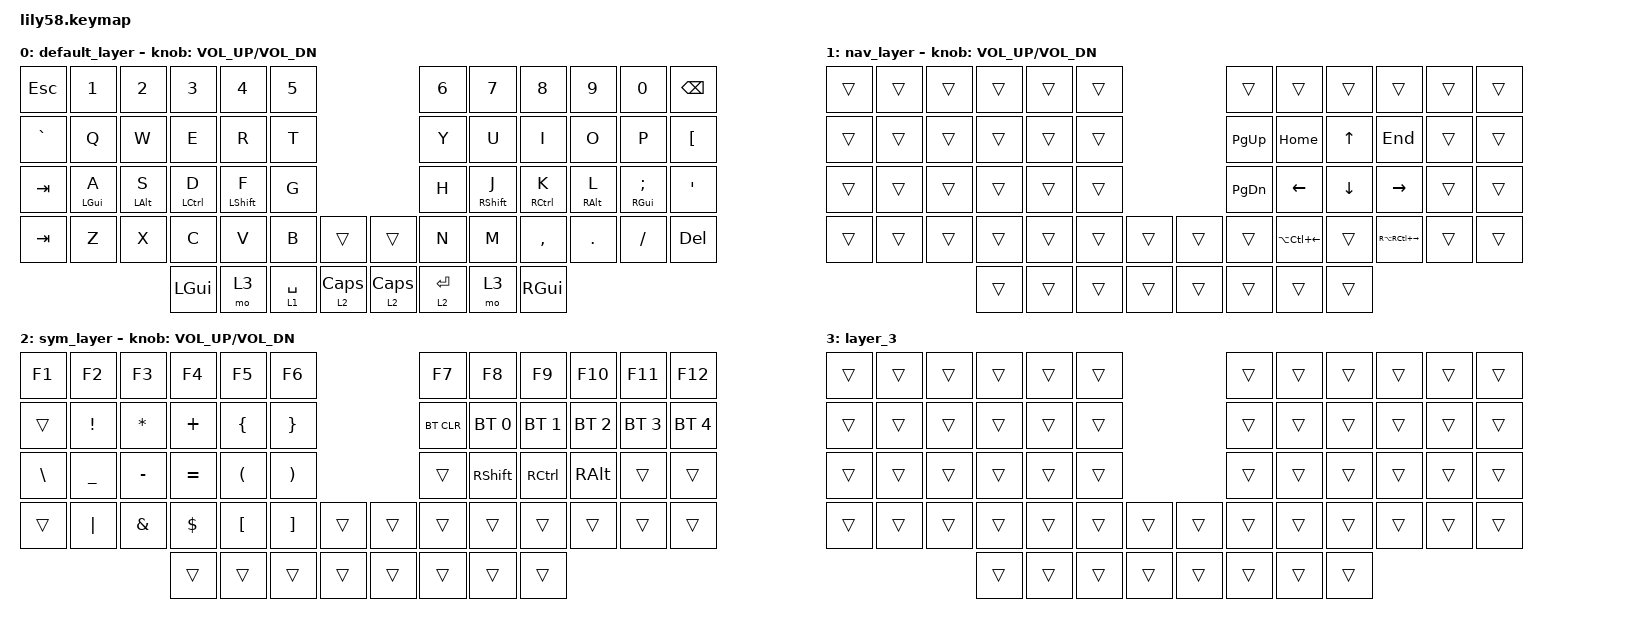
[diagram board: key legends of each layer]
/*
 * Copyright (c) 2020 The ZMK Contributors
 *
 * SPDX-License-Identifier: MIT
 */

#include <behaviors.dtsi>
#include <dt-bindings/zmk/bt.h>
#include <dt-bindings/zmk/keys.h>

&mt {
    flavor = "balanced";
    tapping-term-ms = <150>;
};

/ {
    behaviors {
        // Пример: изменение параметров для стандартного mt

        mt {
            flavor = "tap-unless-interrupted"; // Меняем алгоритм распознавания
        };
    };

    combos {
        compatible = "zmk,combos";

        alt_caps {
            bindings = <&kp CAPS>;
            key-positions = <28 31>;
        };
    };

    keymap {
        compatible = "zmk,keymap";

        default_layer {
            // ------------------------------------------------------------------------------------------------------------
            // |  ESC  |  1  |  2  |  3   |  4   |  5   |                   |  6   |  7    |  8    |  9   |   0   |   `   |
            // |  TAB  |  Q  |  W  |  E   |  R   |  T   |                   |  Y   |  U    |  I    |  O   |   P   |   -   |
            // |  CTRL |  A  |  S  |  D   |  F   |  G   |                   |  H   |  J    |  K    |  L   |   ;   |   '   |
            // | SHIFT |  Z  |  X  |  C   |  V   |  B   |   "["  |  |  "]"  |  N   |  M    |  ,    |  .   |   /   | SHIFT |
            //                     | ALT  | GUI  | LOWER|  SPACE |  | ENTER | RAISE| BSPC  | GUI   |

            bindings = <
&kp ESC    &kp N1          &kp N2          &kp N3              &kp N4            &kp N5                                     &kp N6        &kp N7             &kp N8               &kp N9           &kp N0                   &kp BACKSPACE
&kp GRAVE  &kp Q           &kp W           &kp E               &kp R             &kp T                                      &kp Y         &kp U              &kp I                &kp O            &kp P                    &kp LEFT_BRACKET
&kp TAB    &mt LEFT_GUI A  &mt LEFT_ALT S  &mt LEFT_CONTROL D  &mt LEFT_SHIFT F  &kp G                                      &kp H         &mt RIGHT_SHIFT J  &mt RIGHT_CONTROL K  &mt RIGHT_ALT L  &mt RIGHT_GUI SEMICOLON  &kp SQT
&kp TAB    &kp Z           &kp X           &kp C               &kp V             &kp B        &trans        &trans          &kp N         &kp M              &kp COMMA            &kp DOT          &kp FSLH                 &kp DELETE
                                           &kp LEFT_GUI        &mo 3             &lt 1 SPACE  &lt 2 CAPS    &lt 2 CAPSLOCK  &lt 2 RETURN  &mo 3              &kp RGUI
            >;

            sensor-bindings = <&inc_dec_kp C_VOL_UP C_VOL_DN>;
        };

        nav_layer {
            // ------------------------------------------------------------------------------------------------------------
            // |       |     |     |      |      |      |                   |      |       |       |      |       |       |
            // |   `   |  1  |  2  |  3   |  4   |  5   |                   |  6   |   7   |   8   |  9   |   0   |       |
            // |   F1  |  F2 |  F3 |  F4  |  F5  |  F6  |                   |      |   <-  |   v   |  ^   |  ->   |       |
            // |   F7  |  F8 |  F9 |  F10 |  F11 |  F12 |        |  |       |  +   |   -   |   =   |  [   |   ]   |   \   |
            //                     |      |      |      |        |  |       |      |       |       |

            bindings = <
&trans  &trans  &trans  &trans  &trans  &trans                    &trans         &trans            &trans        &trans             &trans  &trans
&trans  &trans  &trans  &trans  &trans  &trans                    &kp PAGE_UP    &kp HOME          &kp UP_ARROW  &kp END            &trans  &trans
&trans  &trans  &trans  &trans  &trans  &trans                    &kp PAGE_DOWN  &kp LEFT          &kp DOWN      &kp RIGHT          &trans  &trans
&trans  &trans  &trans  &trans  &trans  &trans  &trans    &trans  &trans         &kp LA(LC(LEFT))  &trans        &kp RA(RC(RIGHT))  &trans  &trans
                        &trans  &trans  &trans  &trans    &trans  &trans         &trans            &trans
            >;

            sensor-bindings = <&inc_dec_kp C_VOL_UP C_VOL_DN>;
        };

        sym_layer {
            // ------------------------------------------------------------------------------------------------------------
            // | BTCLR | BT1 | BT2 |  BT3 |  BT4 |  BT5 |                   |      |       |       |      |       |       |
            // |  F1   |  F2 |  F3 |  F4  |  F5  |  F6  |                   |  F7  |  F8   |  F9   |  F10 |  F11  |  F12  |
            // |   `   |  !  |  @  |  #   |  $   |  %   |                   |  ^   |  &    |  *    |  (   |   )   |   ~   |
            // |       |     |     |      |      |      |        |  |       |      |  _    |  +    |  {   |   }   |  "|"  |
            //                     |      |      |      |        |  |       |      |       |       |

            bindings = <
&kp F1         &kp F2           &kp F3         &kp F4      &kp F5                &kp F6                                   &kp F7      &kp F8           &kp F9        &kp F10        &kp F11       &kp F12
&trans         &kp EXCLAMATION  &kp ASTERISK   &kp PLUS    &kp LEFT_BRACE        &kp RIGHT_BRACE                          &bt BT_CLR  &bt BT_SEL 0     &bt BT_SEL 1  &bt BT_SEL 2   &bt BT_SEL 3  &bt BT_SEL 4
&kp BACKSLASH  &kp UNDER        &kp MINUS      &kp EQUAL   &kp LEFT_PARENTHESIS  &kp RIGHT_PARENTHESIS                    &trans      &kp RIGHT_SHIFT  &kp RCTRL     &kp RIGHT_ALT  &trans        &trans
&trans         &kp PIPE         &kp AMPERSAND  &kp DOLLAR  &kp LEFT_BRACKET      &kp RIGHT_BRACKET      &trans    &trans  &trans      &trans           &trans        &trans         &trans        &trans
                                               &trans      &trans                &trans                 &trans    &trans  &trans      &trans           &trans
            >;

            sensor-bindings = <&inc_dec_kp C_VOL_UP C_VOL_DN>;
        };

        layer_3 {
            bindings = <
&trans  &trans  &trans  &trans  &trans  &trans                    &trans  &trans  &trans  &trans  &trans  &trans
&trans  &trans  &trans  &trans  &trans  &trans                    &trans  &trans  &trans  &trans  &trans  &trans
&trans  &trans  &trans  &trans  &trans  &trans                    &trans  &trans  &trans  &trans  &trans  &trans
&trans  &trans  &trans  &trans  &trans  &trans  &trans    &trans  &trans  &trans  &trans  &trans  &trans  &trans
                        &trans  &trans  &trans  &trans    &trans  &trans  &trans  &trans
            >;
        };
    };
};
